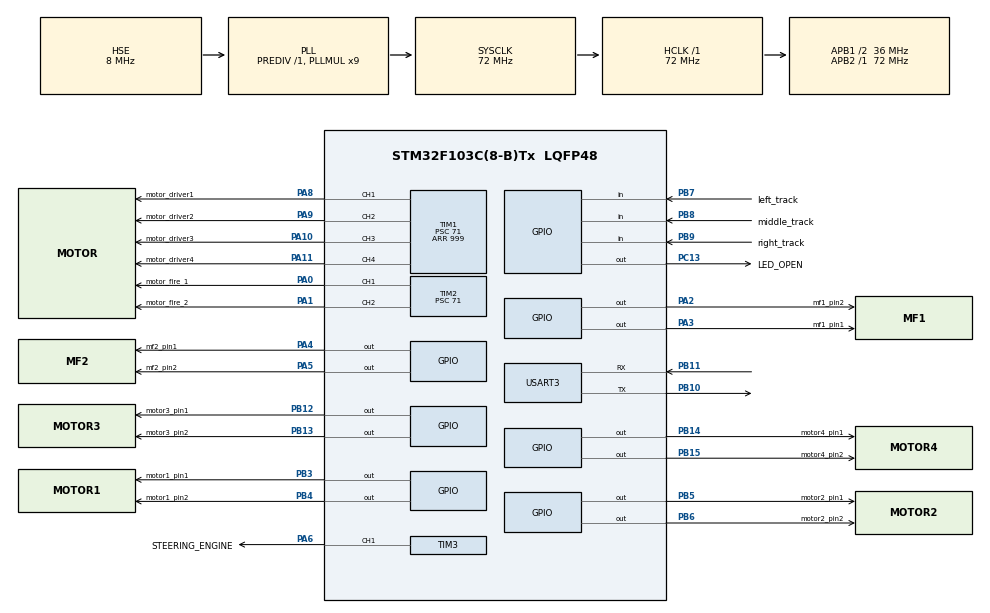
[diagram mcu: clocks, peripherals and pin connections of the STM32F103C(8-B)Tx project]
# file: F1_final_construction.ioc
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Mcu.Family=STM32F1
Mcu.Name=STM32F103C(8-B)Tx
Mcu.Package=LQFP48
NVIC.PriorityGroup=NVIC_PRIORITYGROUP_4
NVIC.RCC_IRQn=true\:1\:0\:true\:false\:true\:true\:false\:true
NVIC.TIM1_UP_IRQn=true\:0\:0\:true\:false\:true\:true\:true\:true
NVIC.TIM2_IRQn=true\:0\:0\:false\:false\:true\:true\:true\:true
NVIC.TIM3_IRQn=true\:0\:0\:false\:false\:true\:true\:true\:true
NVIC.USART3_IRQn=true\:0\:0\:false\:false\:true\:true\:true\:true
PA0-WKUP.GPIO_Label=motor_fire_1
PA0-WKUP.GPIO_Speed=GPIO_SPEED_FREQ_HIGH
PA0-WKUP.Signal=S_TIM2_CH1_ETR
PA1.GPIO_Label=motor_fire_2
PA1.GPIO_Speed=GPIO_SPEED_FREQ_HIGH
PA1.Signal=S_TIM2_CH2
PA10.GPIO_Label=motor_driver3
PA10.GPIO_Speed=GPIO_SPEED_FREQ_HIGH
PA10.Signal=S_TIM1_CH3
PA11.GPIO_Label=motor_driver4
PA11.GPIO_Speed=GPIO_SPEED_FREQ_HIGH
PA11.Signal=S_TIM1_CH4
PA13.Mode=Serial_Wire
PA13.Signal=SYS_JTMS-SWDIO
PA14.Mode=Serial_Wire
PA14.Signal=SYS_JTCK-SWCLK
PA2.GPIO_Label=mf1_pin2
PA2.PinState=GPIO_PIN_SET
PA2.Signal=GPIO_Output
PA3.GPIO_Label=mf1_pin1
PA3.PinState=GPIO_PIN_SET
PA3.Signal=GPIO_Output
PA4.GPIO_Label=mf2_pin1
PA4.PinState=GPIO_PIN_SET
PA4.Signal=GPIO_Output
PA5.GPIO_Label=mf2_pin2
PA5.PinState=GPIO_PIN_SET
PA5.Signal=GPIO_Output
PA6.GPIO_Label=STEERING_ENGINE
PA6.GPIO_Speed=GPIO_SPEED_FREQ_HIGH
PA6.Signal=S_TIM3_CH1
PA8.GPIO_Label=motor_driver1
PA8.GPIO_Speed=GPIO_SPEED_FREQ_HIGH
PA8.Signal=S_TIM1_CH1
PA9.GPIO_Label=motor_driver2
PA9.GPIO_Speed=GPIO_SPEED_FREQ_HIGH
PA9.Signal=S_TIM1_CH2
PB10.Mode=Asynchronous
PB10.Signal=USART3_TX
PB11.Mode=Asynchronous
PB11.Signal=USART3_RX
PB12.GPIO_Label=motor3_pin1
PB12.PinState=GPIO_PIN_SET
PB12.Signal=GPIO_Output
PB13.GPIO_Label=motor3_pin2
PB13.PinState=GPIO_PIN_SET
PB13.Signal=GPIO_Output
PB14.GPIO_Label=motor4_pin1
PB14.PinState=GPIO_PIN_SET
PB14.Signal=GPIO_Output
PB15.GPIO_Label=motor4_pin2
PB15.PinState=GPIO_PIN_SET
PB15.Signal=GPIO_Output
PB3.GPIO_Label=motor1_pin1
PB3.PinState=GPIO_PIN_SET
PB3.Signal=GPIO_Output
PB4.GPIO_Label=motor1_pin2
PB4.PinState=GPIO_PIN_SET
PB4.Signal=GPIO_Output
PB5.GPIO_Label=motor2_pin1
PB5.PinState=GPIO_PIN_SET
PB5.Signal=GPIO_Output
PB6.GPIO_Label=motor2_pin2
PB6.PinState=GPIO_PIN_SET
PB6.Signal=GPIO_Output
PB7.GPIO_Label=left_track
PB7.Signal=GPIO_Input
PB8.GPIO_Label=middle_track
PB8.Signal=GPIO_Input
PB9.GPIO_Label=right_track
PB9.Signal=GPIO_Input
PC13-TAMPER-RTC.GPIO_Label=LED_OPEN
PC13-TAMPER-RTC.GPIO_ModeDefaultOutputPP=GPIO_MODE_OUTPUT_OD
PC13-TAMPER-RTC.GPIO_PuPd=GPIO_NOPULL
PC13-TAMPER-RTC.PinState=GPIO_PIN_SET
PC13-TAMPER-RTC.Signal=GPIO_Output
PD0-OSC_IN.Mode=HSE-External-Oscillator
PD0-OSC_IN.Signal=RCC_OSC_IN
PD1-OSC_OUT.Mode=HSE-External-Oscillator
PD1-OSC_OUT.Signal=RCC_OSC_OUT
ProjectManager.HeapSize=0x200
ProjectManager.StackSize=0x400
ProjectManager.TargetToolchain=MDK-ARM V5.32
RCC.AHBFreq_Value=72000000
RCC.APB1CLKDivider=RCC_HCLK_DIV2
RCC.APB1Freq_Value=36000000
RCC.APB1TimFreq_Value=72000000
RCC.APB2Freq_Value=72000000
RCC.APB2TimFreq_Value=72000000
RCC.HCLKFreq_Value=72000000
RCC.PLLMUL=RCC_PLL_MUL9
RCC.PLLSourceVirtual=RCC_PLLSOURCE_HSE
RCC.SYSCLKFreq_VALUE=72000000
RCC.SYSCLKSource=RCC_SYSCLKSOURCE_PLLCLK
RCC.USBFreq_Value=72000000
SH.S_TIM1_CH1.0=TIM1_CH1,PWM Generation1 CH1
SH.S_TIM1_CH2.0=TIM1_CH2,PWM Generation2 CH2
SH.S_TIM1_CH3.0=TIM1_CH3,PWM Generation3 CH3
SH.S_TIM1_CH4.0=TIM1_CH4,PWM Generation4 CH4
SH.S_TIM2_CH1_ETR.0=TIM2_CH1,PWM Generation1 CH1
SH.S_TIM2_CH2.0=TIM2_CH2,PWM Generation2 CH2
SH.S_TIM3_CH1.0=TIM3_CH1,PWM Generation1 CH1
TIM1.Channel-PWM\ Generation1\ CH1=TIM_CHANNEL_1
TIM1.Channel-PWM\ Generation2\ CH2=TIM_CHANNEL_2
TIM1.Channel-PWM\ Generation3\ CH3=TIM_CHANNEL_3
TIM1.Channel-PWM\ Generation4\ CH4=TIM_CHANNEL_4
TIM1.Period=999
TIM1.Prescaler=71
TIM2.Channel-PWM\ Generation1\ CH1=TIM_CHANNEL_1
TIM2.Channel-PWM\ Generation2\ CH2=TIM_CHANNEL_2
TIM2.Channel-PWM\ Generation3\ CH3=TIM_CHANNEL_3
TIM2.Period=999
TIM2.Prescaler=71
TIM3.Channel-PWM\ Generation1\ CH1=TIM_CHANNEL_1
TIM3.Period=19999
TIM3.Prescaler=71
USART3.VirtualMode=VM_ASYNC
board=custom

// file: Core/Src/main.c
/* USER CODE BEGIN Header */
/**
  ******************************************************************************
  * @file           : main.c
  * @brief          : Main program body
  ******************************************************************************
  * @attention
  *
  * Copyright (c) 2023 STMicroelectronics.
  * All rights reserved.
  *
  * This software is licensed under terms that can be found in the LICENSE file
  * in the root directory of this software component.
  * If no LICENSE file comes with this software, it is provided AS-IS.
  *
  ******************************************************************************
  */
/* USER CODE END Header */
#include "main.h"
#include "tim.h"
#include "usart.h"
#include "gpio.h"

/* USER CODE BEGIN Includes */
#include "control_fun.h"
#include "tracking.h"
#include "fire.h"
/* USER CODE END Includes */

/* USER CODE BEGIN PV */
extern MOTOR motor_1;
extern MOTOR motor_2;
extern MOTOR motor_3;
extern MOTOR motor_4;
uint8_t rx_buff;
uint8_t rx_len = 0;
uint8_t data_store[6];
short test;
/* USER CODE END PV */

void SystemClock_Config(void);

/* USER CODE BEGIN 0 */

//定时器与通道启用
void User_Enable(void)
{
	MOTOR_Enable();
	//Fire_Enable();
}

//接收数据处理
/*
*--数据包为 6 types：
*  系统开始停止占 1
*  小车运动方向（x与y）占 2
*  小车速度占 2
*  小车转向占 1
*/
void HAL_UART_RxCpltCallback(UART_HandleTypeDef *huart)
{
	if(huart->Instance==USART3)
	{
		if((rx_buff != 0xA5) && (rx_buff != 0x5A)){//这只能是暂时的办法，迟早要搞清楚数据包的构成（这限制了取值）
			data_store[rx_len] = rx_buff;
			rx_len++;
			if (rx_len == 6)
			{
				rx_len = 0;
				//电机设置
				RECEIVE_DATE_TRANS(data_store);
				dirction_par_trans();
				MOTOR_SET();
			}
	 }
	}

}
/* USER CODE END 0 */

int main(void)
{

  /* MCU Configuration--------------------------------------------------------*/

  /* Reset of all peripherals, Initializes the Flash interface and the Systick. */
  HAL_Init();

  /* Configure the system clock */
  SystemClock_Config();

  /* Initialize all configured peripherals */
  MX_GPIO_Init();
  MX_TIM1_Init();
  MX_TIM2_Init();
  MX_TIM3_Init();
  MX_USART3_UART_Init();
  /* USER CODE BEGIN 2 */
	User_Enable();
  /* USER CODE END 2 */

  /* Infinite loop */
  while (1)
  {

    /* USER CODE BEGIN 3 */

		HAL_UART_Receive_IT(&huart3,&rx_buff,1);
  }
  /* USER CODE END 3 */
}

void SystemClock_Config(void)
{
  RCC_OscInitTypeDef RCC_OscInitStruct = {0};
  RCC_ClkInitTypeDef RCC_ClkInitStruct = {0};

  /** Initializes the RCC Oscillators according to the specified parameters
  * in the RCC_OscInitTypeDef structure.
  */
  RCC_OscInitStruct.OscillatorType = RCC_OSCILLATORTYPE_HSE;
  RCC_OscInitStruct.HSEState = RCC_HSE_ON;
  RCC_OscInitStruct.HSEPredivValue = RCC_HSE_PREDIV_DIV1;
  RCC_OscInitStruct.HSIState = RCC_HSI_ON;
  RCC_OscInitStruct.PLL.PLLState = RCC_PLL_ON;
  RCC_OscInitStruct.PLL.PLLSource = RCC_PLLSOURCE_HSE;
  RCC_OscInitStruct.PLL.PLLMUL = RCC_PLL_MUL9;
  if (HAL_RCC_OscConfig(&RCC_OscInitStruct) != HAL_OK)
  {
    Error_Handler();
  }

  /** Initializes the CPU, AHB and APB buses clocks
  */
  RCC_ClkInitStruct.ClockType = RCC_CLOCKTYPE_HCLK|RCC_CLOCKTYPE_SYSCLK
                              |RCC_CLOCKTYPE_PCLK1|RCC_CLOCKTYPE_PCLK2;
  RCC_ClkInitStruct.SYSCLKSource = RCC_SYSCLKSOURCE_PLLCLK;
  RCC_ClkInitStruct.AHBCLKDivider = RCC_SYSCLK_DIV1;
  RCC_ClkInitStruct.APB1CLKDivider = RCC_HCLK_DIV2;
  RCC_ClkInitStruct.APB2CLKDivider = RCC_HCLK_DIV1;

  if (HAL_RCC_ClockConfig(&RCC_ClkInitStruct, FLASH_LATENCY_2) != HAL_OK)
  {
    Error_Handler();
  }
}

void Error_Handler(void)
{
  __disable_irq();
  while (1)
  {
  }
}
